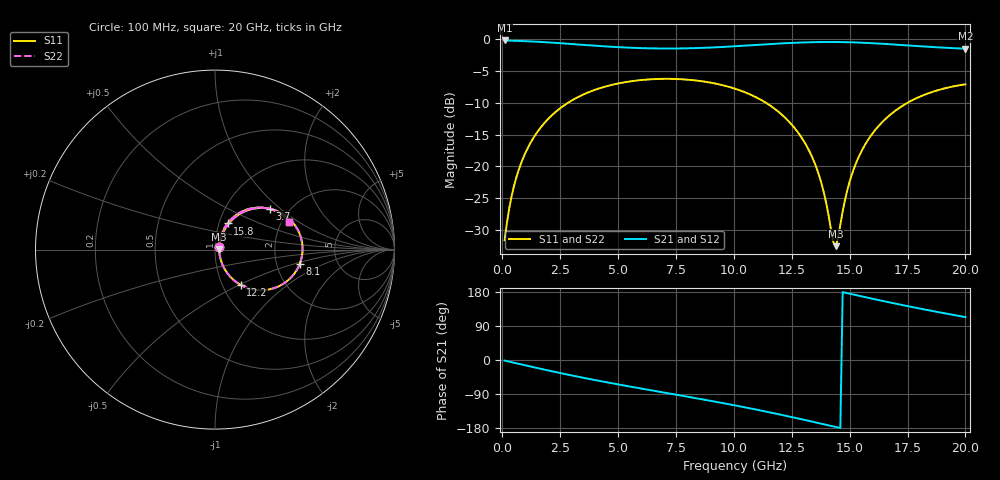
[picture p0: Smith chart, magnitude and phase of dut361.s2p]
! Touchstone file exported from HFSS 2026.1.0
!  File:  C:/ffzhzh/LocalFiles/Ansys_Project_Files/temp_train_TSV_RDL_361_1783038473_55676.aedt
!  Generated:  08:45:30 AM Jul  3, 2026
!  Design:  TSV_RDL
!  Project:  temp_train_TSV_RDL_361_1783038473_55676
! Variables:
!  h_bsmrdl = 3.69um
!  h_ox = 20um
!  h_rdl = 5um
!  h_sub = 53.6um
!  h_tmrdl = 2.79um
!  h_tsv = 53.6um
!  h_via = 3um
!  l_bsmrdl = 918.57um
!  l_sub = 4339.15um
!  l_tmrdl = 261.33um
!  m_sub = 200um
!  pitch = 44.41um
!  r_tsv = 3.08um
!  s_tmrdl = 10um
!  w_bsmrdl = 25.87um
!  w_sub = 500um
!  w_tmrdl = 20.17um
!  x_tsv_center1 = 271.415um
!  x_tsv_center2 = 1215.855um
!  x_tsv_center3 = 1497.355um
!  x_tsv_center4 = 2441.795um
!  x_tsv_center5 = 2723.295um
!  x_tsv_center6 = 3667.735um
# GHz S MA R 50.000000
! Terminal data exported
! Port[1] = TM_RDL1_1_T1
! Port[2] = TM_RDL5_1_T1
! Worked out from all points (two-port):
!   200 points, 100 MHz to 20 GHz, reference 50 ohm
!   highest |S21| = -0.19 dB at 100 MHz (marker M1); lowest = -1.5 dB at 20 GHz (marker M2)
!   |S21| within 3 dB of the highest: start of sweep to end of sweep
!   lowest |S11| = -32.6 dB at 14.4 GHz (marker M3), VSWR 1.05, Z = 52.4 + j0.302 ohm
!   |S11| at or under -10 dB: start of sweep to 2.84 GHz; 11.38 GHz to 17.5 GHz (6.121 GHz wide, 42.4 % of centre)
!   |S22| runs from -32.7 to -6.2 dB; largest |S21 - S12| = 1.7e-14
!   S11 on the Smith chart (normalised r, x): 100 MHz: 1.05, +0.03; 3.7 GHz: 1.60, +0.85; 8.1 GHz: 2.70, -0.56; 12.2 GHz: 1.22, -0.51; 15.8 GHz: 1.10, +0.33; 20 GHz: 2.18, +0.85
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0.1  0.0262 31.0  0.9778 -1.5  0.9778 -1.5  0.0262 31.0
! Gamma 0 0 0 0
! Port Impedance 50 0 50 0
0.3  0.04666 54.7  0.9752 -4.4  0.9752 -4.4  0.04666 54.7
0.5  0.06933 61.7  0.9723 -7.3  0.9723 -7.3  0.06933 61.7
1.2  0.1508 63.0  0.9617 -17.0  0.9617 -17.0  0.1508 63.0
2.2  0.2578 53.5  0.9389 -30.5  0.9389 -30.5  0.2578 53.5
3.5  0.3673 38.9  0.9025 -46.9  0.9025 -46.9  0.3672 38.9
3.7  0.3808 36.6  0.8969 -49.4  0.8969 -49.4  0.3808 36.6
5.3  0.459 19.3  0.8606 -67.7  0.8606 -67.7  0.4589 19.3
6.8  0.4871 3.7  0.8452 -83.9  0.8452 -83.9  0.487 3.7
8.1  0.4787 -9.6  0.8489 -97.9  0.8489 -97.9  0.4787 -9.6
10.1  0.4052 -30.8  0.8813 -120.4  0.8813 -120.4  0.4051 -30.8
12.2  0.2427 -54.0  0.9297 -146.6  0.9297 -146.6  0.2426 -54.1
12.9  0.1709 -60.8  0.942 -156.0  0.942 -156.0  0.1708 -60.9
13.4  0.1161 -63.7  0.9479 -162.9  0.9479 -162.9  0.116 -63.9
13.8  0.07167 -61.6  0.9505 -168.4  0.9505 -168.4  0.07148 -62.0
14.3  0.02518 -19.2  0.9509 -175.3  0.9509 -175.3  0.02473 -19.5
14.4  0.02351 7.0  0.9506 -176.7  0.9506 -176.7  0.02305 7.3
15  0.07562 65.2  0.9461 175.0  0.9461 175.0  0.07551 65.5
15.8  0.1618 64.3  0.9339 164.1  0.9339 164.1  0.1618 64.5
16.7  0.2498 55.8  0.914 152.3  0.914 152.3  0.2497 55.9
18.1  0.3573 40.7  0.879 134.9  0.879 134.9  0.3573 40.8
20  0.4417 20.7  0.8427 113.2  0.8427 113.2  0.4417 20.8
